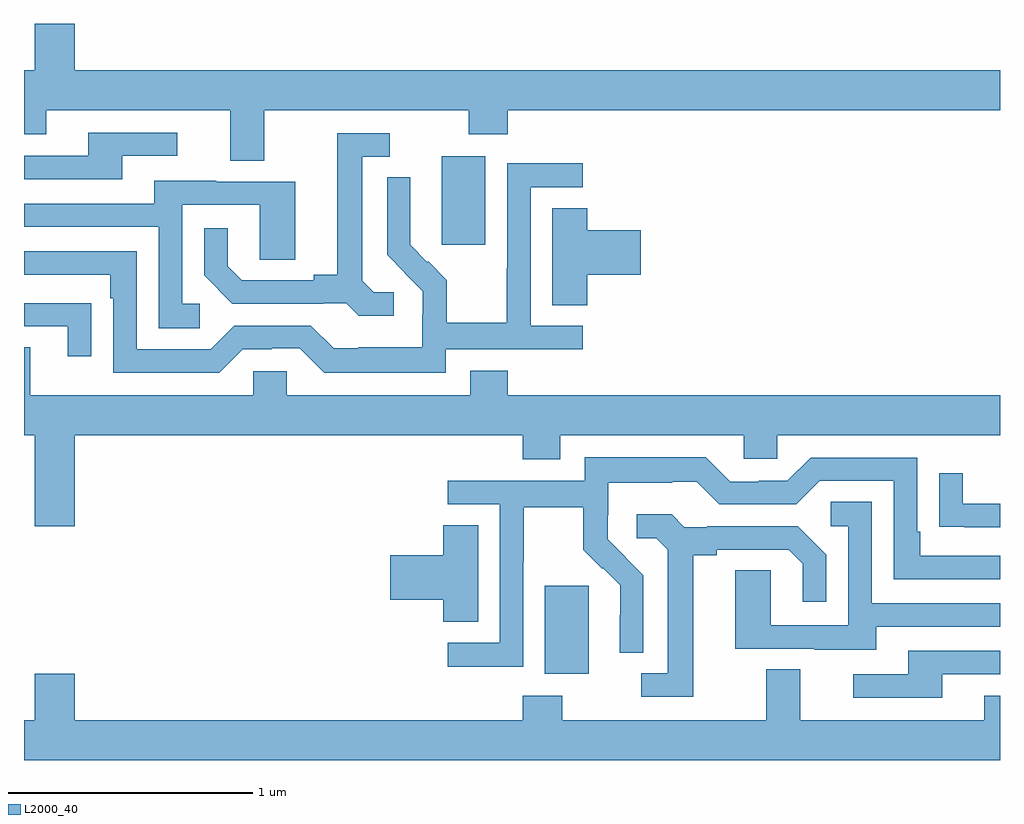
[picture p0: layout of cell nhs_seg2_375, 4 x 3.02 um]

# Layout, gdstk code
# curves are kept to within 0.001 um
import gdstk
lib = gdstk.Library(unit=1e-6, precision=1e-09)
def R(c, l, rs):  # rectangles x0, y0, x1, y1
    for r in rs: c.add(gdstk.rectangle(r[:2], r[2:], *l))
def P(c, l, *ps):  # polygons
    for p in ps: c.add(gdstk.Polygon(p, *l))
L2000_40 = (2000, 40)

nhs_seg2_375 = lib.new_cell('nhs_seg2_375')
R(nhs_seg2_375, L2000_40, [(131.135,630.674,131.314,631.035), (130.712,632.433,130.891,632.794)])
P(nhs_seg2_375, L2000_40, [(129.044,633.337),(129.044,633.148),(129,633.148),(129,632.885),(129.091,632.885),(129.091,632.984),(129.845,632.984),(129.845,632.776),(129.985,632.776),(129.985,632.984),(130.822,632.984),(130.822,632.885),(130.982,632.885),(130.982,632.984),(133,632.984),(133,633.148),(129.208,633.148),(129.208,633.337)],
  [(129.403,632.796),(129.628,632.796),(129.628,632.892),(129.263,632.892),(129.263,632.796),(129,632.796),(129,632.7),(129.403,632.7)],
  [(130.516,632.238),(130.434,632.238),(130.387,632.285),(130.387,632.793),(130.498,632.793),(130.498,632.889),(130.283,632.889),(130.283,632.309),(130.187,632.309),(130.187,632.286),(129.892,632.286),(129.835,632.343),(129.835,632.5),(129.738,632.5),(129.738,632.306),(129.854,632.19),(130.226,632.19),(130.226,632.193),(130.32,632.193),(130.372,632.141),(130.516,632.141)],
  [(130.728,632.004),(131.29,632.004),(131.29,632.1),(131.076,632.1),(131.076,632.667),(131.29,632.667),(131.29,632.766),(130.98,632.766),(130.98,632.336),(130.978,632.336),(130.978,632.113),(130.733,632.113),(130.733,632.287),(130.656,632.364),(130.653,632.361),(130.583,632.432),(130.584,632.708),(130.488,632.708),(130.488,632.39),(130.634,632.242),(130.634,632.145),(130.632,632.145),(130.632,632.011),(130.369,632.011),(130.369,632.007),(130.269,632.007),(130.176,632.1),(129.861,632.1),(129.765,632.004),(129.462,632.004),(129.462,632.406),(129,632.406),(129,632.31),(129.353,632.31),(129.353,632.213),(129.366,632.213),(129.366,631.908),(129.801,631.908),(129.897,632.004),(130.016,632.004),(130.016,632.007),(130.131,632.007),(130.231,631.907),(130.728,631.907)],
  [(129.721,632.19),(129.648,632.19),(129.648,632.595),(129.966,632.595),(129.966,632.371),(130.111,632.371),(130.111,632.691),(129.787,632.691),(129.787,632.695),(129.533,632.695),(129.533,632.601),(129,632.601),(129,632.505),(129.552,632.505),(129.552,632.089),(129.721,632.089)],
  [(131.309,632.309),(131.527,632.309),(131.527,632.492),(131.309,632.492),(131.309,632.582),(131.165,632.582),(131.165,632.185),(131.309,632.185)],
  [(129.275,632.192),(129.173,632.192),(129.173,632.193),(129,632.193),(129,632.097),(129.179,632.097),(129.179,631.974),(129.275,631.974)],
  [(129.208,631.652),(131.045,631.652),(131.045,631.553),(131.197,631.553),(131.197,631.652),(131.949,631.652),(131.949,631.554),(132.087,631.554),(132.087,631.652),(133,631.652),(133,631.816),(130.982,631.816),(130.982,631.915),(130.829,631.915),(130.829,631.816),(130.077,631.816),(130.077,631.914),(129.939,631.914),(129.939,631.816),(129.025,631.816),(129.025,632.011),(129,632.011),(129,631.652),(129.044,631.652),(129.044,631.278),(129.208,631.278)],
  [(131.046,631.132),(131.049,631.132),(131.049,631.356),(131.293,631.356),(131.293,631.181),(131.37,631.104),(131.373,631.107),(131.444,631.037),(131.444,630.914),(131.442,630.914),(131.442,630.76),(131.538,630.76),(131.538,631.078),(131.392,631.226),(131.392,631.323),(131.394,631.323),(131.394,631.457),(131.657,631.457),(131.657,631.461),(131.757,631.461),(131.85,631.368),(132.165,631.368),(132.261,631.464),(132.564,631.464),(132.564,631.062),(133,631.062),(133,631.158),(132.673,631.158),(132.673,631.255),(132.66,631.255),(132.66,631.56),(132.225,631.56),(132.129,631.464),(132.011,631.464),(132.011,631.461),(131.895,631.461),(131.795,631.561),(131.298,631.561),(131.298,631.464),(130.737,631.464),(130.737,631.368),(130.95,631.368),(130.95,630.801),(130.737,630.801),(130.737,630.703),(131.046,630.703)],
  [(133,631.371),(132.847,631.371),(132.847,631.495),(132.751,631.495),(132.751,631.276),(132.853,631.276),(132.853,631.275),(133,631.275)],
  [(132.493,630.867),(133,630.867),(133,630.963),(132.474,630.963),(132.474,631.379),(132.306,631.379),(132.306,631.278),(132.378,631.278),(132.378,630.873),(132.06,630.873),(132.06,631.097),(131.915,631.097),(131.915,630.777),(132.239,630.777),(132.239,630.773),(132.493,630.773)],
  [(131.743,631.16),(131.839,631.16),(131.839,631.182),(132.134,631.182),(132.191,631.125),(132.191,630.969),(132.288,630.969),(132.288,631.162),(132.172,631.278),(131.8,631.278),(131.8,631.275),(131.706,631.275),(131.654,631.327),(131.511,631.327),(131.511,631.23),(131.592,631.23),(131.639,631.183),(131.639,630.675),(131.529,630.675),(131.529,630.579),(131.743,630.579)],
  [(130.861,631.283),(130.718,631.283),(130.718,631.16),(130.5,631.16),(130.5,630.977),(130.718,630.977),(130.718,630.886),(130.861,630.886)],
  [(132.763,630.672),(133,630.672),(133,630.768),(132.623,630.768),(132.623,630.672),(132.399,630.672),(132.399,630.576),(132.763,630.576)],
  [(133,630.583),(132.935,630.583),(132.935,630.484),(132.181,630.484),(132.181,630.692),(132.041,630.692),(132.041,630.484),(131.205,630.484),(131.205,630.583),(131.045,630.583),(131.045,630.484),(129.208,630.484),(129.208,630.673),(129.044,630.673),(129.044,630.484),(129,630.484),(129,630.32),(133,630.32)])

lib.write_gds('nhs_seg2_375.gds')
